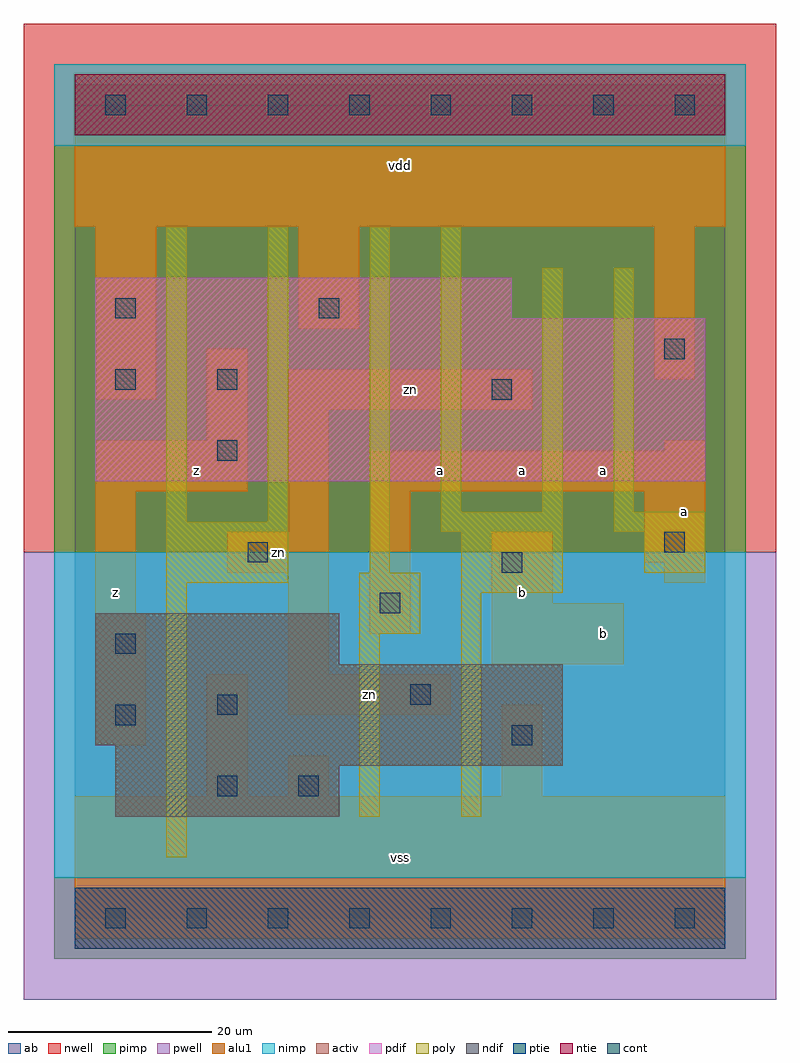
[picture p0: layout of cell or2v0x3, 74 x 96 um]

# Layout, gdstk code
import gdstk
lib = gdstk.Library(unit=1e-6, precision=1e-09)
def R(c, l, rs):  # rectangles x0, y0, x1, y1
    for r in rs: c.add(gdstk.rectangle(r[:2], r[2:], *l))
def A(c, l, x, y, w, h, nx, ny, dx, dy):  # array of equal rectangles
    R(c, l, [(x+i*dx, y+j*dy, x+i*dx+w, y+j*dy+h) for i in range(nx) for j in range(ny)])
ndif = (3, 0)
pdif = (4, 0)
ntie = (5, 0)
ptie = (6, 0)
cont = (25, 0)
pwell = (41, 0)
nwell = (42, 0)
activ = (43, 0)
pimp = (44, 0)
nimp = (45, 0)
poly = (46, 0)
alu1 = (49, 0)
ab = (63, 0)

or2v0x3 = lib.new_cell('or2v0x3')
R(or2v0x3, ndif, [(4,10,26,15), (4,15,48,17), (2,17,48,25), (2,25,26,30)])
R(or2v0x3, pdif, [(2,43,62,59), (2,59,43,63)])
R(or2v0x3, ntie, [(0,77,64,83)])
R(or2v0x3, ptie, [(0,-3,64,3)])
A(or2v0x3, cont, 3, -1, 2, 2, 8, 2, 8, 80)
R(or2v0x3, cont, [(14,12,16,14), (22,12,24,14), (43,17,45,19), (4,19,6,21), (14,20,16,22), (33,21,35,23), (4,26,6,28), (30,30,32,32), (42,34,44,36), (17,35,19,37), (58,36,60,38), (14,45,16,47), (41,51,43,53), (4,52,6,54), (14,52,16,54), (58,55,60,57), (4,59,6,61), (24,59,26,61)])
R(or2v0x3, pwell, [(-5,-8,69,36)])
R(or2v0x3, nwell, [(-5,36,69,88)])
R(or2v0x3, activ, [(0,-3,64,3), (4,10,26,15), (4,15,48,17), (2,17,48,25), (2,25,26,30), (2,43,62,59), (2,59,43,63), (0,77,64,83)])
R(or2v0x3, pimp, [(-2,-4,66,4), (-2,36,66,76)])
R(or2v0x3, nimp, [(-2,4,66,36), (-2,76,66,84)])
R(or2v0x3, poly, [(9,6,11,33), (28,10,30,28), (38,10,40,32), (28,28,34,34), (38,32,48,38), (9,33,21,39), (29,34,31,68), (56,34,62,38), (36,38,48,40), (53,38,62,40), (9,39,11,68), (19,39,21,68), (36,40,38,68), (46,40,48,64), (53,40,55,64)])
R(or2v0x3, alu1, [(0,-2,64,12), (13,12,17,24), (21,12,25,16), (42,12,46,21), (2,17,7,30), (21,20,37,24), (21,24,25,34), (41,25,54,31), (29,28,33,42), (2,30,6,42), (41,31,47,38), (58,33,62,35), (15,34,25,38), (56,35,62,42), (21,38,25,50), (2,42,17,47), (29,42,62,46), (58,46,62,47), (13,47,17,56), (21,50,45,54), (2,51,8,68), (57,53,61,68), (22,58,28,68), (0,68,64,82)])
R(or2v0x3, ab, [(0,0,64,80)])
or2v0x3.add(gdstk.Label('zn', (20,36), layer=49, texttype=0))
or2v0x3.add(gdstk.Label('zn', (29,22), layer=49, texttype=0))
or2v0x3.add(gdstk.Label('zn', (33,52), layer=49, texttype=0))
or2v0x3.add(gdstk.Label('z', (4,32), layer=49, texttype=0))
or2v0x3.add(gdstk.Label('z', (12,44), layer=49, texttype=0))
or2v0x3.add(gdstk.Label('vss', (32,6), layer=49, texttype=0))
or2v0x3.add(gdstk.Label('b', (44,32), layer=49, texttype=0))
or2v0x3.add(gdstk.Label('a', (44,44), layer=49, texttype=0))
or2v0x3.add(gdstk.Label('a', (36,44), layer=49, texttype=0))
or2v0x3.add(gdstk.Label('vdd', (32,74), layer=49, texttype=0))
or2v0x3.add(gdstk.Label('b', (52,28), layer=49, texttype=0))
or2v0x3.add(gdstk.Label('a', (60,40), layer=49, texttype=0))
or2v0x3.add(gdstk.Label('a', (52,44), layer=49, texttype=0))

lib.write_gds('or2v0x3.gds')
